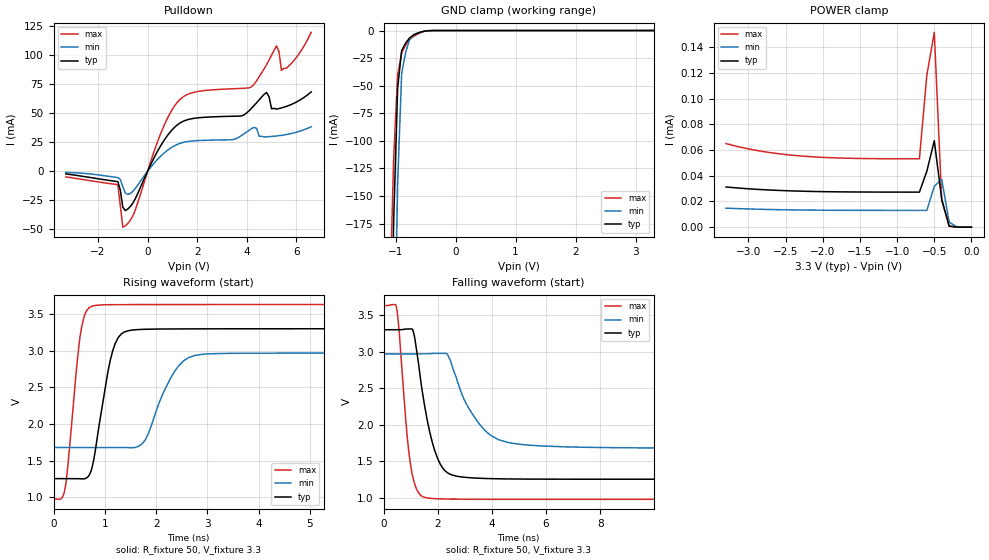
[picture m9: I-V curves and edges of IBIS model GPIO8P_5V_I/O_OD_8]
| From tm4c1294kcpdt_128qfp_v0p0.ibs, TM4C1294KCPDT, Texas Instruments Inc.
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|   Model Cell GPIO8P_5V_I/O_OD_8
[Model]   GPIO8P_5V_I/O_OD_8
Model_type   I/O_open_drain
Polarity   Inverting
Enable   Active-Low
Vinl =  0.8
Vinh =  2
Cref =  15.0000pF
Rref =  100.0000M
Vref =  0V
Vmeas =  1.65
C_comp   7.738177p   6.063161p   9.392973p
[Model Spec]
Vinl   0.8   0.8   0.8
Vinh   2   2   2
[Temperature Range]   25   125   -40
[Voltage Range]   3.3   2.97   3.63
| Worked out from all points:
|   slope of the pulldown table from 0 to 0.495 V, typ, clamps not added: 23.8 ohm
|   GND clamp passes 1 mA (typ) near -0.55 V on its own axis
|   rising waveform, R_fixture 50, V_fixture 3.3: 20-80 % time 294ps typ, 469ps min, 211ps max; typ from 1.26 V to 3.3 V
|   falling waveform, R_fixture 50, V_fixture 3.3: 20-80 % time 603ps typ, 1.09ns min, 361ps max; typ from 3.3 V to 1.26 V
| Nom Voltages:
|   VDDC=1.2, VDD=3.3, GND=0
| Min Voltages:
|   VDDC=1.08, VDD=2.97, GND=0
| Max Voltages:
|   VDDC=1.32, VDD=3.63, GND=0
[POWER_clamp]
|   voltage   I(typ)   I(min)   I(max)
-3.3V     31.22uA    14.77uA    64.95uA
-2.8V     29.13uA    13.84uA    58.77uA
-2.3V     27.98uA    13.34uA    55.36uA
-1.7V     27.4uA     13.1uA     53.62uA
-700mV    27.24uA    13.03uA    53.12uA
-600mV    43.52uA    13.03uA    118.2uA
-500mV    67.2uA     31.8uA     151.5uA
-400mV    21.58uA    37.04uA    21.1uA
-300mV    927.4nA    3.873uA    611.4nA
-200mV    28.93nA    266.5nA    11.51nA
0V        696.9pA    10.99nA    568.3pA
[Pulldown]
|   voltage   I(typ)   I(min)   I(max)
-3.3V     -2.325mA   -1.011mA   -4.829mA
-1.2V     -8.9mA     -5.443mA   -11.78mA
-1V       -30.94mA   -13.35mA   -48.07mA
-900mV    -33.77mA   -18.67mA   -46.9mA
-500mV    -23.82mA   -14.99mA   -33.55mA
600mV     24.46mA    14.43mA    36.18mA
1.3V      41.39mA    23.95mA    61.62mA
4.2V      54.39mA    36.75mA    72.77mA
4.8V      67.66mA    29.61mA    91.8mA
5.2V      53.41mA    30.34mA    107.8mA
5.4V      54.46mA    30.89mA    86.79mA
6.6V      68.25mA    38.26mA    119.5mA
[GND_clamp]
|   voltage   I(typ)   I(min)   I(max)
-3.3V     -16.36A    -15.34A    -17.18A
-1.1V     -382.1mA   -633.4mA   -250.1mA
-1.033V   -173.3mA   -336.5mA   -116.4mA
-966.7mV  -52.02mA   -138.4mA   -39.81mA
-900mV    -18.21mA   -38.98mA   -20.34mA
-833.3mV  -11.36mA   -19.82mA   -13.17mA
-766.7mV  -6.618mA   -8.051mA   -8.134mA
-700mV    -3.983mA   -3.675mA   -5.247mA
-500mV    -328.3uA   -388.2uA   -374.5uA
-366.7mV  -15.94uA   -32.84uA   -14.83uA
3.3V      696.9pA    8.348uA    426.1pA
[Ramp]
| variable   typ   min   max
dV/dt_f  1.2327476/0.60421965n 0.77839191/1.0956499n  1.5975129/0.36234264n
dV/dt_r  1.2367608/0.5327977n 0.87779632/1.1244503n  1.5908858/0.32349379n
R_load = 50
[Rising Waveform]
R_fixture = 50
V_fixture = 3.3
V_fixture_min = 2.97
V_fixture_max = 3.63
|   time   V(typ)   V(min)   V(max)
0s        1.258V     1.681V     982.1mV
222.4ps   1.258V     1.681V     1.113V
517.4ps   1.255V     1.681V     3.191V
787.1ps   1.526V     1.681V     3.613V
1.153ns   2.997V     1.681V     3.628V
1.534ns   3.282V     1.678V     3.629V
1.804ns   3.293V     1.805V     3.629V
2.441ns   3.297V     2.796V     3.63V
2.892ns   3.298V     2.951V     3.63V
20.01ns   3.3V       2.97V      3.63V
[Falling Waveform]
R_fixture = 50
V_fixture = 3.3
V_fixture_min = 2.97
V_fixture_max = 3.63
|   time   V(typ)   V(min)   V(max)
0s        3.3V       2.97V      3.63V
465ps     3.3V       2.97V      3.62V
975.4ps   3.312V     2.97V      1.5V
1.145ns   3.196V     2.97V      1.195V
1.465ns   2.368V     2.97V      1.015V
2.009ns   1.528V     2.978V     989.8mV
2.738ns   1.296V     2.582V     984.5mV
3.621ns   1.269V     1.973V     983mV
4.67ns    1.261V     1.754V     982.8mV
20.01ns   1.258V     1.681V     982.8mV
